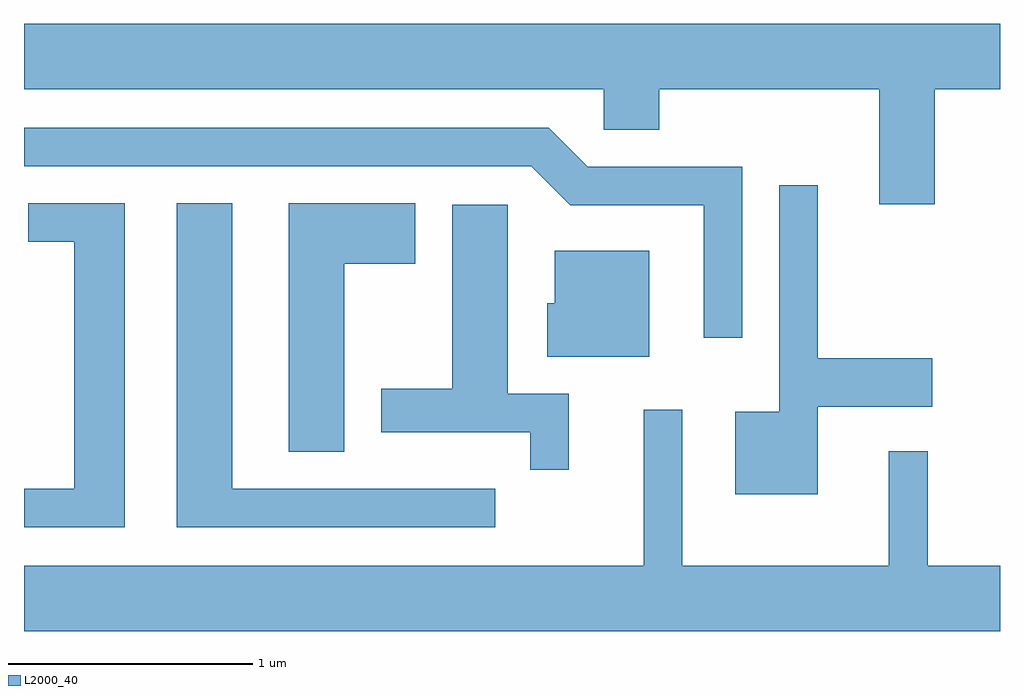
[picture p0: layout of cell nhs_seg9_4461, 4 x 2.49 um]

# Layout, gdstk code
import gdstk
lib = gdstk.Library(unit=1e-6, precision=1e-09)
def P(c, l, *ps):  # polygons
    for p in ps: c.add(gdstk.Polygon(p, *l))
L2000_40 = (2000, 40)

nhs_seg9_4461 = lib.new_cell('nhs_seg9_4461')
P(nhs_seg9_4461, L2000_40, [(319.344,2065.076),(319.611,2065.076),(319.611,2065.344),(315.611,2065.344),(315.611,2065.076),(317.986,2065.076),(317.986,2064.911),(318.214,2064.911),(318.214,2065.076),(319.116,2065.076),(319.116,2064.606),(319.344,2064.606)],
  [(318.554,2064.759),(317.922,2064.759),(317.762,2064.919),(315.611,2064.919),(315.611,2064.761),(317.689,2064.761),(317.849,2064.601),(318.396,2064.601),(318.396,2064.058),(318.554,2064.058)],
  [(318.864,2063.776),(319.334,2063.776),(319.334,2063.974),(318.864,2063.974),(318.864,2064.683),(318.706,2064.683),(318.706,2063.754),(318.526,2063.754),(318.526,2063.416),(318.864,2063.416)],
  [(316.924,2064.361),(317.214,2064.361),(317.214,2064.609),(316.696,2064.609),(316.696,2063.591),(316.924,2063.591)],
  [(317.543,2063.439),(316.464,2063.439),(316.464,2064.609),(316.236,2064.609),(316.236,2063.281),(317.543,2063.281)],
  [(316.024,2064.609),(315.628,2064.609),(315.628,2064.451),(315.816,2064.451),(315.816,2063.439),(315.611,2063.439),(315.611,2063.281),(316.024,2063.281)],
  [(317.844,2063.829),(317.594,2063.829),(317.594,2064.604),(317.366,2064.604),(317.366,2063.849),(317.076,2063.849),(317.076,2063.671),(317.686,2063.671),(317.686,2063.518),(317.844,2063.518)],
  [(318.174,2064.414),(317.786,2064.414),(317.786,2064.199),(317.756,2064.199),(317.756,2063.981),(318.174,2063.981)],
  [(319.611,2063.124),(319.314,2063.124),(319.314,2063.593),(319.156,2063.593),(319.156,2063.124),(318.309,2063.124),(318.309,2063.762),(318.151,2063.762),(318.151,2063.124),(315.611,2063.124),(315.611,2062.856),(319.611,2062.856)])

lib.write_gds('nhs_seg9_4461.gds')
